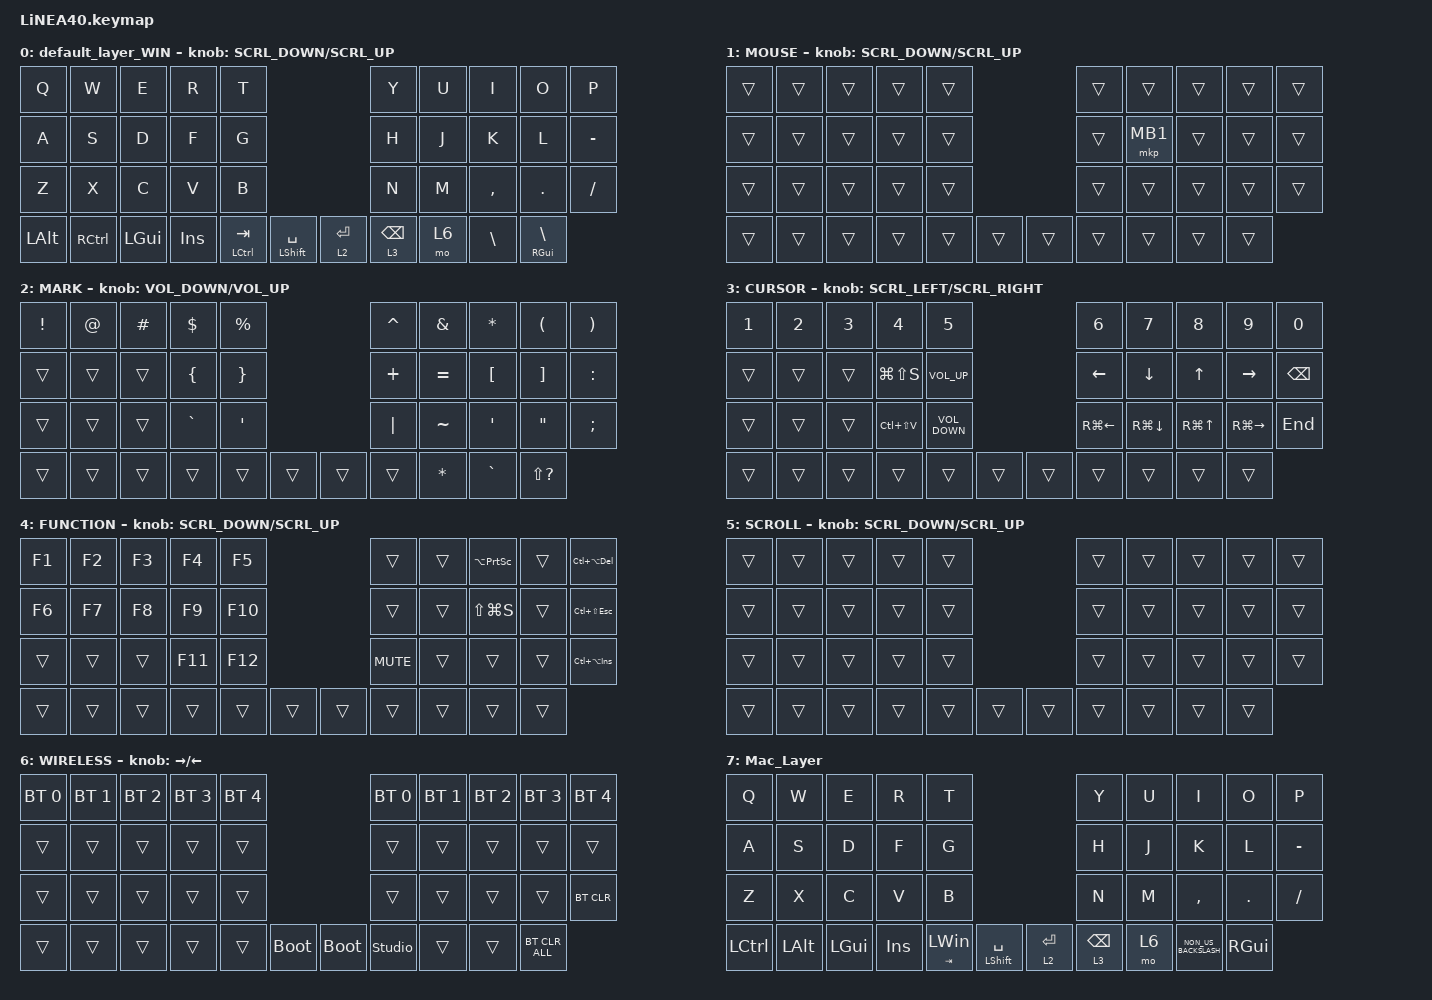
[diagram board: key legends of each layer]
#define ZMK_POINTING_DEFAULT_SCRL_VAL 150

#include <dt-bindings/zmk/input_transform.h>
#include <input/processors.dtsi>
#include <zephyr/dt-bindings/input/input-event-codes.h>
#include <behaviors.dtsi>
#include <dt-bindings/zmk/bt.h>
#include <dt-bindings/zmk/keys.h>
#include <dt-bindings/zmk/pointing.h>

#define MOUSE 1
#define MARK 2
#define CURSOR 3
#define FUNCTION 4
#define SCROLL 5
#define WIRELESS 6

//mouse cursol

&mmv {
    delay-ms = <20>;
    trigger-period-ms = <5>;
    time-to-max-speed-ms = <100>;
    acceleration-exponent = <2>;
};

//mouse scroll

&msc {
    delay-ms = <3>;
    trigger-period-ms = <3>;
    time-to-max-speed-ms = <100>;
    acceleration-exponent = <0>;
};

/ {
    input_processors {
        zip_wheel_scaler: zip_wheel_scaler {
            compatible = "zmk,input-processor-scaler";
            #input-processor-cells = <2>;
            type = <INPUT_EV_REL>;
            codes = <INPUT_REL_WHEEL>;
            track-remainders;
        };
    };
};

&msc_input_listener {
    speed_up {
        layers = <FUNCTION>;
        input-processors = <&zip_wheel_scaler 3 1>; //スクロールを3倍速にする
    };
};

&trackball_listener {
    scroller {
        layers = <SCROLL>;
        input-processors =
            <&zip_xy_transform INPUT_TRANSFORM_Y_INVERT>,
            //スクロール方向を逆転,,,,,,,,,,,,,,,,,,,,,,,,,,,,,,,,,,,,,,,,,
            <&zip_xy_to_scroll_mapper>;
    };
};

/ {
    combos {
        compatible = "zmk,combos";

        DeleteKey {
            bindings = <&kp DEL>;
            key-positions = <8 9>;
        };

        JP {
            bindings = <&kp LANGUAGE_1>;
            key-positions = <16 17>;
            layers = <0>;
        };

        ENG {
            bindings = <&kp LANGUAGE_2>;
            key-positions = <13 12>;
        };

        combo_Escape {
            bindings = <&kp ESCAPE>;
            key-positions = <0 1>;
        };

        combo_ALT {
            bindings = <&kp LEFT_ALT>;
            key-positions = <10 11>;
        };

        right_click {
            bindings = <&mkp MB2>;
            key-positions = <17 18>;
        };

        LEFT_CLICK {
            bindings = <&mkp MB1>;
            key-positions = <8 7>;
        };

        SCROLL_L {
            bindings = <&mo 5>;
            key-positions = <3 2>;
        };

        closewindow {
            bindings = <&kp LA(F4)>;
            key-positions = <1 2>;
        };

        left_wireless {
            bindings = <&mo 6>;
            key-positions = <31 32>;
        };

        combo_GUI {
            bindings = <&kp LEFT_GUI>;
            key-positions = <20 21>;
        };

        low_speed_mouse {
            bindings = <&mo 2>;
            key-positions = <35 3>;
        };
    };

    behaviors {
        re_kp: sensor_rotate_kp {
            compatible = "zmk,behavior-sensor-rotate-var";
            #sensor-binding-cells = <2>;
            bindings = <&kp>, <&kp>;
        };

        mouse_scrl: mouse_wheel_scrl {
            compatible = "zmk,behavior-sensor-rotate-var";
            #sensor-binding-cells = <2>;
            bindings = <&msc>, <&msc>;

            tap-ms = <20>;
        };

        mt_fast: mt_fast {
            compatible = "zmk,behavior-hold-tap";
            label = "MT_FAST";
            bindings = <&kp>, <&kp>;

            #binding-cells = <2>;
            tapping-term-ms = <200>;
            quick-tap-ms = <150>;
            require-prior-idle-ms = <150>;
            flavor = "tap-preferred";
        };

        lt_fast: lt_fast {
            compatible = "zmk,behavior-hold-tap";
            label = "LT_FAST";
            bindings = <&mo>, <&kp>;

            #binding-cells = <2>;
            flavor = "tap-preferred";
            tapping-term-ms = <200>;
            quick-tap-ms = <200>;
            require-prior-idle-ms = <150>;
        };
    };

    keymap {
        compatible = "zmk,keymap";

        default_layer_WIN {
            bindings = <
&kp Q         &kp W      &kp E         &kp R    &kp T                                                           &kp Y            &kp U  &kp I      &kp O          &kp P
&kp A         &kp S      &kp D         &kp F    &kp G                                                           &kp H            &kp J  &kp K      &kp L          &kp MINUS
&kp Z         &kp X      &kp C         &kp V    &kp B                                                           &kp N            &kp M  &kp COMMA  &kp DOT        &kp SLASH
&kp LEFT_ALT  &kp RCTRL  &kp LEFT_GUI  &kp INS  &mt LEFT_CONTROL TAB  &mt_fast LEFT_SHIFT SPACE    &lt 2 ENTER  &lt 3 BACKSPACE         &mo 6      &kp BACKSLASH  &mt RIGHT_GUI BACKSLASH
            >;

            sensor-bindings = <&mouse_scrl SCRL_DOWN SCRL_UP>;
        };

        MOUSE {
            bindings = <
&trans  &trans  &trans  &trans  &trans                    &trans  &trans    &trans  &trans  &trans
&trans  &trans  &trans  &trans  &trans                    &trans  &mkp MB1  &trans  &trans  &trans
&trans  &trans  &trans  &trans  &trans                    &trans  &trans    &trans  &trans  &trans
&trans  &trans  &trans  &trans  &trans  &trans    &trans  &trans            &trans  &trans  &trans
            >;

            sensor-bindings = <&mouse_scrl SCRL_DOWN SCRL_UP>;
        };

        MARK {
            bindings = <
&kp EXCLAMATION  &kp AT  &kp HASH  &kp DOLLAR      &kp PERCENT                        &kp CARET  &kp AMPERSAND  &kp ASTERISK      &kp LEFT_PARENTHESIS  &kp RIGHT_PARENTHESIS
&trans           &trans  &trans    &kp LEFT_BRACE  &kp RIGHT_BRACE                    &kp PLUS   &kp EQUAL      &kp LEFT_BRACKET  &kp RIGHT_BRACKET     &kp COLON
&trans           &trans  &trans    &kp GRAVE       &kp SQT                            &kp PIPE   &kp TILDE      &kp SINGLE_QUOTE  &kp DOUBLE_QUOTES     &kp SEMICOLON
&trans           &trans  &trans    &trans          &trans           &trans    &trans  &trans                    &kp ASTERISK      &kp GRAVE             &kp LS(QUESTION)
            >;

            sensor-bindings = <&re_kp C_VOLUME_DOWN C_VOLUME_UP>;
        };

        CURSOR {
            bindings = <
&kp NUMBER_1  &kp NUMBER_2  &kp NUMBER_3  &kp NUMBER_4   &kp NUMBER_5                         &kp NUMBER_6  &kp NUMBER_7  &kp NUMBER_8      &kp NUMBER_9   &kp NUMBER_0
&trans        &trans        &trans        &kp LG(LS(S))  &kp C_VOLUME_UP                      &kp LEFT      &kp DOWN      &kp UP            &kp RIGHT      &kp BACKSPACE
&trans        &trans        &trans        &kp LC(LS(V))  &kp C_VOLUME_DOWN                    &kp RG(LEFT)  &kp RG(DOWN)  &kp RG(UP_ARROW)  &kp RG(RIGHT)  &kp END
&trans        &trans        &trans        &trans         &trans             &trans    &trans  &trans                      &trans            &trans         &trans
            >;

            sensor-bindings = <&mouse_scrl SCRL_LEFT SCRL_RIGHT>;
        };

        FUNCTION {
            bindings = <
&kp F1  &kp F2  &kp F3  &kp F4   &kp F5                     &trans      &trans  &kp LA(PRINTSCREEN)  &trans  &kp LC(LA(DELETE))
&kp F6  &kp F7  &kp F8  &kp F9   &kp F10                    &trans      &trans  &kp LS(LG(S))        &trans  &kp LC(LS(ESCAPE))
&trans  &trans  &trans  &kp F11  &kp F12                    &kp C_MUTE  &trans  &trans               &trans  &kp LC(LA(INS))
&trans  &trans  &trans  &trans   &trans   &trans    &trans  &trans              &trans               &trans  &trans
            >;

            sensor-bindings = <&mouse_scrl SCRL_DOWN SCRL_UP>;
        };

        SCROLL {
            bindings = <
&trans  &trans  &trans  &trans  &trans                    &trans  &trans  &trans  &trans  &trans
&trans  &trans  &trans  &trans  &trans                    &trans  &trans  &trans  &trans  &trans
&trans  &trans  &trans  &trans  &trans                    &trans  &trans  &trans  &trans  &trans
&trans  &trans  &trans  &trans  &trans  &trans    &trans  &trans          &trans  &trans  &trans
            >;

            sensor-bindings = <&mouse_scrl SCRL_DOWN SCRL_UP>;
        };

        WIRELESS {
            bindings = <
&bt BT_SEL 0  &bt BT_SEL 1  &bt BT_SEL 2  &bt BT_SEL 3  &bt BT_SEL 4                              &bt BT_SEL 0    &bt BT_SEL 1  &bt BT_SEL 2  &bt BT_SEL 3  &bt BT_SEL 4
&trans        &trans        &trans        &trans        &trans                                    &trans          &trans        &trans        &trans        &trans
&trans        &trans        &trans        &trans        &trans                                    &trans          &trans        &trans        &trans        &bt BT_CLR
&trans        &trans        &trans        &trans        &trans        &bootloader    &bootloader  &studio_unlock                &trans        &trans        &bt BT_CLR_ALL
            >;

            sensor-bindings = <&inc_dec_kp RIGHT_ARROW LEFT_ARROW>;
        };

        Mac_Layer {
            bindings = <
&kp Q             &kp W         &kp E         &kp R    &kp T                                                       &kp Y            &kp U  &kp I      &kp O                 &kp P
&kp A             &kp S         &kp D         &kp F    &kp G                                                       &kp H            &kp J  &kp K      &kp L                 &kp MINUS
&kp Z             &kp X         &kp C         &kp V    &kp B                                                       &kp N            &kp M  &kp COMMA  &kp PERIOD            &kp SLASH
&kp LEFT_CONTROL  &kp LEFT_ALT  &kp LEFT_GUI  &kp INS  &mt TAB LEFT_WIN  &mt_fast LEFT_SHIFT SPACE    &lt 2 ENTER  &lt 3 BACKSPACE         &mo 6      &kp NON_US_BACKSLASH  &kp RIGHT_GUI
            >;
        };
    };
};
